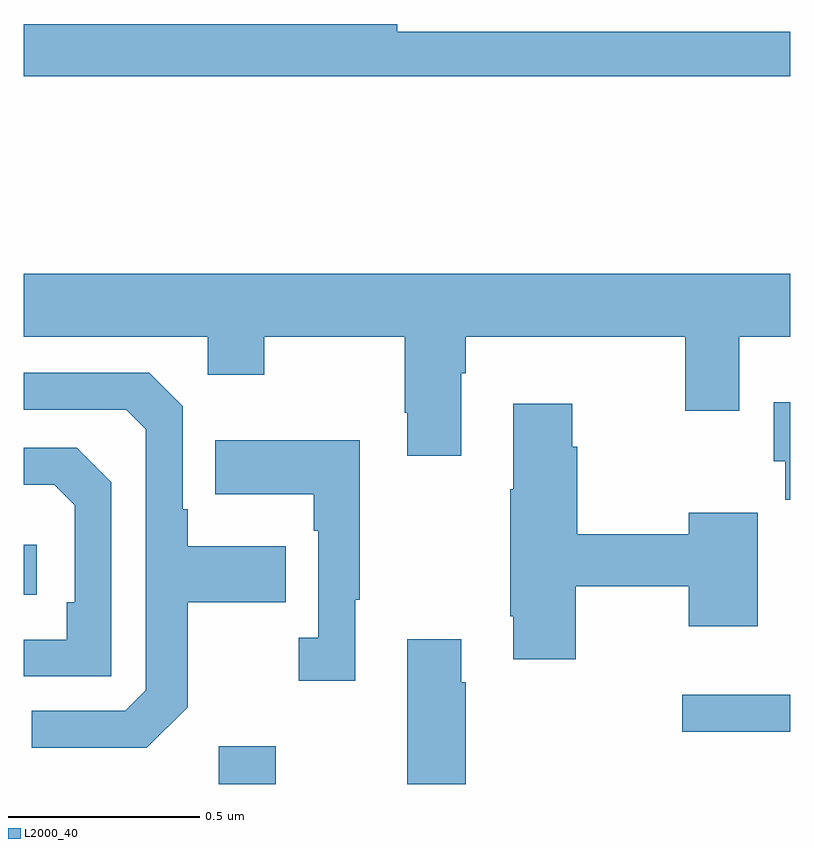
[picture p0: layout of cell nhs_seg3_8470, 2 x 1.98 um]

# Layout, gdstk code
import gdstk
lib = gdstk.Library(unit=1e-6, precision=1e-09)
def R(c, l, rs):  # rectangles x0, y0, x1, y1
    for r in rs: c.add(gdstk.rectangle(r[:2], r[2:], *l))
def P(c, l, *ps):  # polygons
    for p in ps: c.add(gdstk.Polygon(p, *l))
L2000_40 = (2000, 40)

nhs_seg3_8470 = lib.new_cell('nhs_seg3_8470')
R(nhs_seg3_8470, L2000_40, [(216.509,714.4,216.657,714.499), (217.719,714.536,218,714.633), (216,714.894,216.034,715.024)])
P(nhs_seg3_8470, L2000_40, [(218,716.364),(216.974,716.364),(216.974,716.384),(216,716.384),(216,716.248),(218,716.248)],
  [(217.141,715.472),(217.154,715.472),(217.154,715.568),(217.727,715.568),(217.727,715.374),(217.867,715.374),(217.867,715.568),(218,715.568),(218,715.732),(216,715.732),(216,715.568),(216.48,715.568),(216.48,715.469),(216.627,715.469),(216.627,715.568),(216.994,715.568),(216.994,715.369),(217.001,715.369),(217.001,715.257),(217.141,715.257)],
  [(216.427,714.601),(216.427,714.874),(216.683,714.874),(216.683,715.021),(216.427,715.021),(216.427,715.117),(216.414,715.117),(216.414,715.386),(216.327,715.473),(216,715.473),(216,715.377),(216.267,715.377),(216.318,715.326),(216.318,714.645),(216.264,714.591),(216.021,714.591),(216.021,714.495),(216.321,714.495)],
  [(218,715.396),(217.958,715.396),(217.958,715.242),(217.988,715.242),(217.988,715.142),(218,715.142)],
  [(217.44,714.916),(217.736,714.916),(217.736,714.812),(217.915,714.812),(217.915,715.108),(217.736,715.108),(217.736,715.052),(217.445,715.052),(217.445,715.28),(217.432,715.28),(217.432,715.393),(217.277,715.393),(217.277,715.169),(217.27,715.169),(217.27,714.838),(217.277,714.838),(217.277,714.726),(217.44,714.726)],
  [(216.865,714.881),(216.877,714.881),(216.877,715.297),(216.499,715.297),(216.499,715.157),(216.756,715.157),(216.756,715.061),(216.768,715.061),(216.768,714.782),(216.717,714.782),(216.717,714.669),(216.865,714.669)],
  [(216.228,715.188),(216.138,715.278),(216,715.278),(216,715.181),(216.079,715.181),(216.132,715.128),(216.132,714.874),(216.112,714.874),(216.112,714.777),(216,714.777),(216,714.681),(216.228,714.681)],
  [(217.154,714.665),(217.141,714.665),(217.141,714.778),(217.001,714.778),(217.001,714.4),(217.154,714.4)])

lib.write_gds('nhs_seg3_8470.gds')
